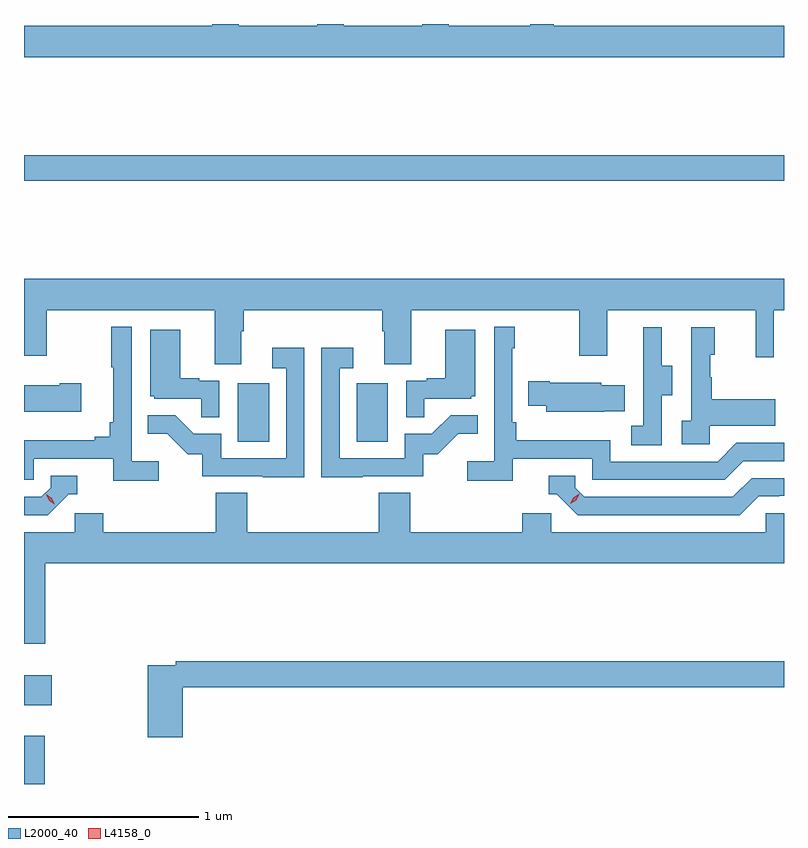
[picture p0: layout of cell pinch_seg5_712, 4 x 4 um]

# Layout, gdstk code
import gdstk
lib = gdstk.Library(unit=1e-6, precision=1e-09)
def R(c, l, rs):  # rectangles x0, y0, x1, y1
    for r in rs: c.add(gdstk.rectangle(r[:2], r[2:], *l))
def P(c, l, *ps):  # polygons
    for p in ps: c.add(gdstk.Polygon(p, *l))
L2000_40 = (2000, 40)
L4158_0 = (4158, 0)

pinch_seg5_712 = lib.new_cell('pinch_seg5_712')
R(pinch_seg5_712, L2000_40, [(1080.874,851.602,1080.983,851.857), (1080.874,852.017,1081.021,852.175), (1082,853.404,1082.164,853.711), (1082.624,853.404,1082.788,853.711), (1080.874,854.776,1084.874,854.912)])
P(pinch_seg5_712, L2000_40, [(1084.874,855.592),(1083.661,855.592),(1083.661,855.602),(1083.539,855.602),(1083.539,855.592),(1083.109,855.592),(1083.109,855.602),(1082.969,855.602),(1082.969,855.592),(1082.557,855.592),(1082.557,855.602),(1082.417,855.602),(1082.417,855.592),(1082.005,855.592),(1082.005,855.602),(1081.865,855.602),(1081.865,855.592),(1080.874,855.592),(1080.874,855.428),(1084.874,855.428)],
  [(1082.017,853.984),(1082.03,853.984),(1082.03,854.096),(1082.759,854.096),(1082.759,853.984),(1082.771,853.984),(1082.771,853.81),(1082.911,853.81),(1082.911,854.096),(1083.796,854.096),(1083.796,853.857),(1083.943,853.857),(1083.943,854.096),(1084.724,854.096),(1084.724,853.848),(1084.821,853.848),(1084.821,854.096),(1084.874,854.096),(1084.874,854.26),(1080.874,854.26),(1080.874,853.857),(1080.993,853.857),(1080.993,854.096),(1081.877,854.096),(1081.877,853.81),(1082.017,853.81)],
  [(1081.582,853.3),(1081.44,853.3),(1081.44,854.008),(1081.332,854.008),(1081.332,853.795),(1081.343,853.795),(1081.343,853.507),(1081.324,853.507),(1081.324,853.43),(1081.247,853.43),(1081.247,853.411),(1080.874,853.411),(1080.874,853.203),(1080.924,853.203),(1080.924,853.314),(1081.343,853.314),(1081.343,853.198),(1081.582,853.198)],
  [(1083.446,853.314),(1083.864,853.314),(1083.864,853.203),(1084.561,853.203),(1084.66,853.302),(1084.874,853.302),(1084.874,853.398),(1084.623,853.398),(1084.524,853.299),(1083.96,853.299),(1083.96,853.411),(1083.464,853.411),(1083.464,853.507),(1083.444,853.507),(1083.444,853.895),(1083.457,853.895),(1083.457,854.008),(1083.348,854.008),(1083.348,853.3),(1083.207,853.3),(1083.207,853.198),(1083.446,853.198)],
  [(1084.482,853.487),(1084.829,853.487),(1084.829,853.627),(1084.495,853.627),(1084.495,853.742),(1084.485,853.742),(1084.485,853.86),(1084.51,853.86),(1084.51,854.005),(1084.386,854.005),(1084.386,853.514),(1084.335,853.514),(1084.335,853.389),(1084.482,853.389)],
  [(1084.23,853.648),(1084.285,853.648),(1084.285,853.803),(1084.231,853.803),(1084.231,854.005),(1084.133,854.005),(1084.133,853.791),(1084.134,853.791),(1084.134,853.487),(1084.071,853.487),(1084.071,853.384),(1084.23,853.384)],
  [(1082.981,853.629),(1083.228,853.629),(1083.228,853.644),(1083.25,853.644),(1083.25,853.993),(1083.092,853.993),(1083.092,853.738),(1082.993,853.738),(1082.993,853.725),(1082.886,853.725),(1082.886,853.531),(1082.981,853.531)],
  [(1081.902,853.725),(1081.796,853.725),(1081.796,853.738),(1081.696,853.738),(1081.696,853.993),(1081.538,853.993),(1081.538,853.644),(1081.56,853.644),(1081.56,853.629),(1081.807,853.629),(1081.807,853.531),(1081.902,853.531)],
  [(1082.349,853.897),(1082.181,853.897),(1082.181,853.791),(1082.253,853.791),(1082.253,853.317),(1081.911,853.317),(1081.911,853.446),(1081.767,853.446),(1081.669,853.544),(1081.525,853.544),(1081.525,853.445),(1081.629,853.445),(1081.736,853.338),(1081.813,853.338),(1081.813,853.221),(1082.131,853.221),(1082.131,853.216),(1082.349,853.216)],
  [(1082.657,853.221),(1082.976,853.221),(1082.976,853.338),(1083.052,853.338),(1083.159,853.445),(1083.263,853.445),(1083.263,853.544),(1083.119,853.544),(1083.021,853.446),(1082.877,853.446),(1082.877,853.317),(1082.535,853.317),(1082.535,853.791),(1082.608,853.791),(1082.608,853.897),(1082.439,853.897),(1082.439,853.216),(1082.657,853.216)],
  [(1083.929,853.565),(1084.037,853.565),(1084.037,853.702),(1083.912,853.702),(1083.912,853.714),(1083.64,853.714),(1083.64,853.722),(1083.529,853.722),(1083.529,853.592),(1083.623,853.592),(1083.623,853.562),(1083.929,853.562)],
  [(1081.174,853.71),(1081.061,853.71),(1081.061,853.702),(1080.874,853.702),(1080.874,853.562),(1081.174,853.562)],
  [(1084.741,853.116),(1084.848,853.116),(1084.848,853.119),(1084.874,853.119),(1084.874,853.212),(1084.704,853.212),(1084.605,853.113),(1083.822,853.113),(1083.774,853.161),(1083.774,853.224),(1083.635,853.224),(1083.635,853.128),(1083.678,853.128),(1083.789,853.017),(1084.642,853.017)],
  [(1081.11,853.128),(1081.153,853.128),(1081.153,853.224),(1081.014,853.224),(1081.014,853.161),(1080.966,853.113),(1080.874,853.113),(1080.874,853.017),(1080.999,853.017)],
  [(1080.986,852.764),(1084.874,852.764),(1084.874,853.026),(1084.779,853.026),(1084.779,852.928),(1083.648,852.928),(1083.648,853.026),(1083.497,853.026),(1083.497,852.928),(1082.906,852.928),(1082.906,853.136),(1082.741,853.136),(1082.741,852.928),(1082.048,852.928),(1082.048,853.136),(1081.883,853.136),(1081.883,852.928),(1081.292,852.928),(1081.292,853.026),(1081.14,853.026),(1081.14,852.928),(1080.874,852.928),(1080.874,852.339),(1080.986,852.339)],
  [(1081.709,852.112),(1084.874,852.112),(1084.874,852.248),(1081.672,852.248),(1081.672,852.228),(1081.526,852.228),(1081.526,851.847),(1081.709,851.847)])
P(pinch_seg5_712, L4158_0, [(1083.749,853.077),(1083.749,853.077),(1083.765,853.109),(1083.796,853.129),(1083.796,853.129),(1083.796,853.128),(1083.78,853.096),(1083.749,853.077)],
  [(1081.036,853.074),(1081.006,853.094),(1080.99,853.127),(1080.99,853.127),(1080.99,853.127),(1081.021,853.107),(1081.036,853.075),(1081.036,853.074)])

lib.write_gds('pinch_seg5_712.gds')
